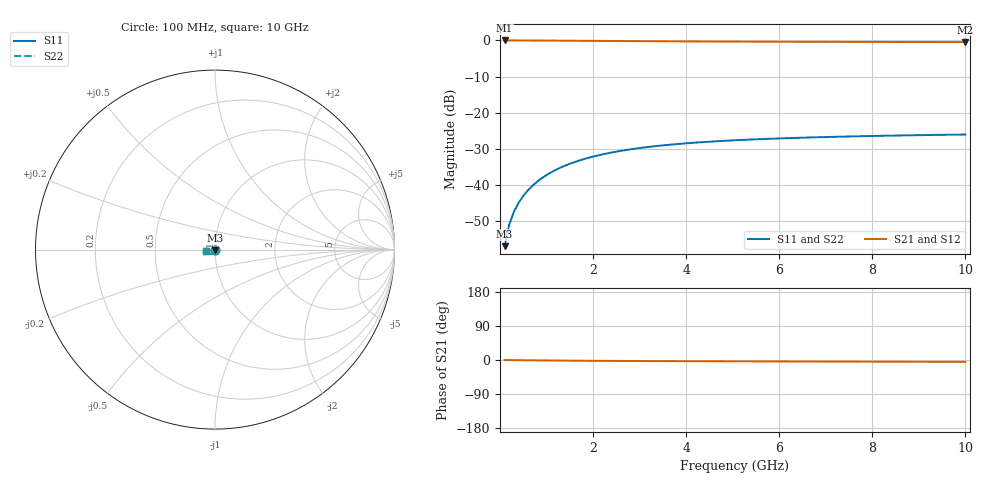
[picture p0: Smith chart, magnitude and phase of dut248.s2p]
! Touchstone file exported from HFSS 2024.1.0
!  File:  C:/UserFiles/LocalFiles/RDL_TSV_Batchsim/temp_TSV1_248_1779390215.aedt
!  Generated:  03:10:15 AM May 22, 2026
!  Design:  TSV1
!  Project:  temp_TSV1_248_1779390215
!  Setup:  Setup1
!  Solution:  Sweep
! Variables:
!  dtsv = 12.14um
!  hbump = 3um
!  htsv = 76.09um
!  lrdl = 252.1521522um
!  p = 40
!  p1 = 50.67um
!  t = 500um
!  trdl = 3um
!  wrdl = 24.89489489um
# GHz S MA R 50.000000
! Terminal data exported
! Port[1] = TSV22_T1
! Port[2] = TSV22_T2
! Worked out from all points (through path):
!   100 points, 100 MHz to 10 GHz, reference 50 ohm
!   highest |S21| = 0.00 dB at 100 MHz (marker M1); lowest = -0.4 dB at 10 GHz (marker M2)
!   lowest |S11| = -57.0 dB at 100 MHz (marker M3), VSWR 1.00, Z = 50 - j0.14 ohm
!   |S11| at or under -10 dB: start of sweep to end of sweep
!   |S22| runs from -57.0 to -26.1 dB; largest |S21 - S12| = 8.4e-15
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0.1  0.001405 -87.9  0.9999 -0.1  0.9999 -0.1  0.001405 -87.9
! Gamma 0 0 0 0
! Port Impedance 50 0 50 0
0.2  0.002806 -91.4  0.9997 -0.3  0.9997 -0.3  0.002806 -91.4
0.3  0.004206 -93.7  0.9995 -0.4  0.9995 -0.4  0.004206 -93.7
0.4  0.0056 -95.8  0.9992 -0.5  0.9992 -0.5  0.0056 -95.8
0.5  0.006983 -97.7  0.9988 -0.6  0.9988 -0.6  0.006983 -97.7
0.6  0.008351 -99.5  0.9983 -0.7  0.9983 -0.7  0.008351 -99.5
0.7  0.009699 -101.3  0.9978 -0.9  0.9978 -0.9  0.009699 -101.3
0.8  0.01102 -103.1  0.9972 -1.0  0.9972 -1.0  0.01102 -103.1
0.9  0.01232 -104.9  0.9965 -1.1  0.9965 -1.1  0.01232 -104.9
1.1  0.01484 -108.2  0.9951 -1.3  0.9951 -1.3  0.01484 -108.2
1.4  0.01837 -113.0  0.9925 -1.6  0.9925 -1.6  0.01837 -113.0
1.6  0.02056 -116.1  0.9907 -1.8  0.9907 -1.8  0.02056 -116.1
1.8  0.02262 -118.9  0.9889 -2.0  0.9889 -2.0  0.02262 -118.9
2.1  0.02544 -123.0  0.986 -2.2  0.986 -2.2  0.02544 -123.0
2.5  0.02874 -128.0  0.9822 -2.4  0.9822 -2.4  0.02874 -128.0
2.9  0.03158 -132.5  0.9786 -2.7  0.9786 -2.7  0.03158 -132.5
3.4  0.03457 -137.5  0.9745 -2.9  0.9745 -2.9  0.03457 -137.5
4.2  0.03832 -144.3  0.9689 -3.2  0.9689 -3.2  0.03832 -144.3
5.1  0.04145 -150.6  0.9638 -3.5  0.9638 -3.5  0.04145 -150.6
6.7  0.04526 -159.4  0.9573 -4.0  0.9573 -4.0  0.04526 -159.4
8.4  0.0479 -166.7  0.9528 -4.5  0.9528 -4.5  0.0479 -166.7
10  0.04967 -172.3  0.9498 -4.9  0.9498 -4.9  0.04967 -172.3
